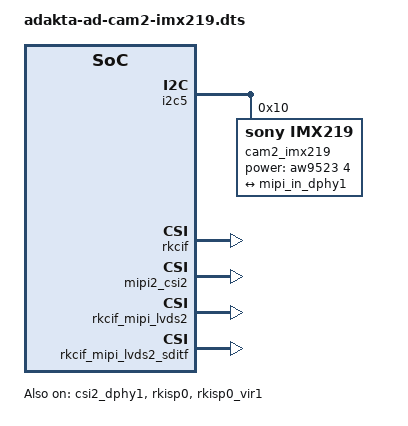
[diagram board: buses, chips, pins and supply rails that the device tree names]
/dts-v1/;
/plugin/;

#include <dt-bindings/gpio/gpio.h>
#include <dt-bindings/pinctrl/rockchip.h>

/ {
	metadata {
		title = "Enable Raspberry Pi Camera V2 2";
		compatible = "adakta,adakta-ad-rk3588";
		category = "camera";
		description = "Enable Raspberry Pi Camera V2 2";
	};

	fragment@0 {
		target = <&i2c5>;

		__overlay__ {
			status = "okay";

			cam2_imx219: cam2_imx219@10 {
				status = "okay";

				compatible = "sony,imx219";
				reg = <0x10>;

				pinctrl-names = "default";
				pinctrl-0 = <&aw9523_cam2_reset_pins>;

				power-gpios = <&aw9523 4 GPIO_ACTIVE_HIGH>;

				clocks = <&clk_cam_24m>;
				clock-names = "xvclk";

				rockchip,camera-module-index = <2>;
				rockchip,camera-module-facing = "back";
				rockchip,camera-module-name = "rpi-camera-v2";
				rockchip,camera-module-lens-name = "default";

				port {
					cam2_imx219_out: endpoint {
						status = "okay";
						remote-endpoint = <&mipi_in_dphy1>;
						data-lanes = <1 2>;
						clock-noncontinuous;
						link-frequencies = /bits/ 64 <456000000>;
					};
				};
			};
		};
	};

	fragment@1 {
		target = <&mipi_in_dphy1>;

		__overlay__ {
			remote-endpoint = <&cam2_imx219_out>;
			data-lanes = <1 2>;
		};
	};

	fragment@2 {
		target = <&rkcif>;

		__overlay__ {
			status = "okay";
		};
	};

	fragment@3 {
		target = <&rkcif_mmu>;

		__overlay__ {
			status = "okay";
		};
	};

	fragment@4 {
		target = <&csi2_dphy1>;

		__overlay__ {
			status = "okay";
		};
	};

	fragment@5 {
		target = <&mipi2_csi2>;

		__overlay__ {
			status = "okay";
		};
	};

	fragment@6 {
		target = <&rkcif_mipi_lvds2>;

		__overlay__ {
			status = "okay";
		};
	};

	fragment@7 {
		target = <&rkcif_mipi_lvds2_sditf>;

		__overlay__ {
			status = "okay";
		};
	};

	fragment@8 {
		target = <&rkisp0>;

		__overlay__ {
			status = "okay";
		};
	};

	fragment@9 {
		target = <&isp0_mmu>;

		__overlay__ {
			status = "okay";
		};
	};

	fragment@10 {
		target = <&rkisp0_vir1>;

		__overlay__ {
			status = "okay";
		};
	};
};
